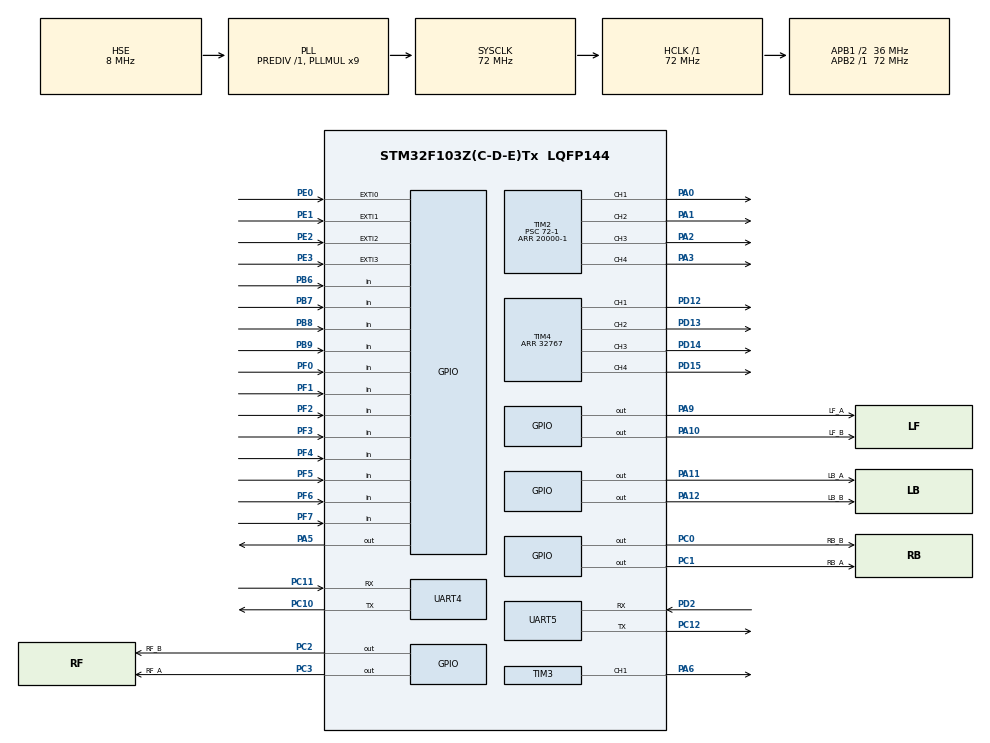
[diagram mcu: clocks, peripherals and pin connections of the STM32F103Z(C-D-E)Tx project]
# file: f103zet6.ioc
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Mcu.Family=STM32F1
Mcu.Name=STM32F103Z(C-D-E)Tx
Mcu.Package=LQFP144
NVIC.EXTI0_IRQn=true\:0\:0\:false\:false\:true\:true\:true\:true
NVIC.EXTI1_IRQn=true\:0\:0\:false\:false\:true\:true\:true\:true
NVIC.EXTI2_IRQn=true\:0\:0\:false\:false\:true\:true\:true\:true
NVIC.EXTI3_IRQn=true\:0\:0\:false\:false\:true\:true\:true\:true
NVIC.PriorityGroup=NVIC_PRIORITYGROUP_4
NVIC.TIM3_IRQn=true\:0\:0\:false\:false\:true\:true\:true\:true
OSC_IN.Mode=HSE-External-Oscillator
OSC_IN.Signal=RCC_OSC_IN
OSC_OUT.Mode=HSE-External-Oscillator
OSC_OUT.Signal=RCC_OSC_OUT
PA0-WKUP.Signal=S_TIM2_CH1_ETR
PA1.Signal=S_TIM2_CH2
PA10.GPIO_Label=LF_B
PA10.Signal=GPIO_Output
PA11.GPIO_Label=LB_A
PA11.Signal=GPIO_Output
PA12.GPIO_Label=LB_B
PA12.Signal=GPIO_Output
PA13.Mode=Serial_Wire
PA13.Signal=SYS_JTMS-SWDIO
PA14.Mode=Serial_Wire
PA14.Signal=SYS_JTCK-SWCLK
PA2.Signal=S_TIM2_CH3
PA3.Signal=S_TIM2_CH4
PA5.Signal=GPIO_Output
PA6.Signal=S_TIM3_CH1
PA9.GPIO_Label=LF_A
PA9.Signal=GPIO_Output
PB6.GPIO_PuPd=GPIO_PULLDOWN
PB6.Signal=GPIO_Input
PB7.GPIO_PuPd=GPIO_PULLDOWN
PB7.Signal=GPIO_Input
PB8.GPIO_PuPd=GPIO_PULLDOWN
PB8.Signal=GPIO_Input
PB9.GPIO_PuPd=GPIO_PULLDOWN
PB9.Signal=GPIO_Input
PC0.GPIO_Label=RB_B
PC0.Signal=GPIO_Output
PC1.GPIO_Label=RB_A
PC1.Signal=GPIO_Output
PC10.Mode=Asynchronous
PC10.Signal=UART4_TX
PC11.Mode=Asynchronous
PC11.Signal=UART4_RX
PC12.Mode=Asynchronous
PC12.Signal=UART5_TX
PC2.GPIO_Label=RF_B
PC2.Signal=GPIO_Output
PC3.GPIO_Label=RF_A
PC3.Signal=GPIO_Output
PD12.Signal=S_TIM4_CH1
PD13.Signal=S_TIM4_CH2
PD14.Signal=S_TIM4_CH3
PD15.Signal=S_TIM4_CH4
PD2.Mode=Asynchronous
PD2.Signal=UART5_RX
PE0.GPIO_PuPd=GPIO_PULLDOWN
PE0.Signal=GPXTI0
PE1.GPIO_PuPd=GPIO_PULLDOWN
PE1.Signal=GPXTI1
PE2.GPIO_PuPd=GPIO_PULLDOWN
PE2.Signal=GPXTI2
PE3.GPIO_PuPd=GPIO_PULLDOWN
PE3.Signal=GPXTI3
PF0.GPIO_PuPd=GPIO_PULLDOWN
PF0.Signal=GPIO_Input
PF1.GPIO_PuPd=GPIO_PULLDOWN
PF1.Signal=GPIO_Input
PF2.GPIO_PuPd=GPIO_PULLDOWN
PF2.Signal=GPIO_Input
PF3.GPIO_PuPd=GPIO_PULLDOWN
PF3.Signal=GPIO_Input
PF4.GPIO_PuPd=GPIO_PULLDOWN
PF4.Signal=GPIO_Input
PF5.GPIO_PuPd=GPIO_PULLDOWN
PF5.Signal=GPIO_Input
PF6.GPIO_PuPd=GPIO_PULLDOWN
PF6.Signal=GPIO_Input
PF7.GPIO_PuPd=GPIO_PULLDOWN
PF7.Signal=GPIO_Input
ProjectManager.HeapSize=0x200
ProjectManager.StackSize=0x400
ProjectManager.TargetToolchain=MDK-ARM V5.32
RCC.AHBFreq_Value=72000000
RCC.APB1CLKDivider=RCC_HCLK_DIV2
RCC.APB1Freq_Value=36000000
RCC.APB1TimFreq_Value=72000000
RCC.APB2Freq_Value=72000000
RCC.APB2TimFreq_Value=72000000
RCC.HCLKFreq_Value=72000000
RCC.PLLMUL=RCC_PLL_MUL9
RCC.PLLSourceVirtual=RCC_PLLSOURCE_HSE
RCC.SYSCLKFreq_VALUE=72000000
RCC.SYSCLKSource=RCC_SYSCLKSOURCE_PLLCLK
RCC.USBFreq_Value=72000000
SH.S_TIM2_CH1_ETR.0=TIM2_CH1,PWM Generation1 CH1
SH.S_TIM2_CH2.0=TIM2_CH2,PWM Generation2 CH2
SH.S_TIM2_CH3.0=TIM2_CH3,PWM Generation3 CH3
SH.S_TIM2_CH4.0=TIM2_CH4,PWM Generation4 CH4
SH.S_TIM3_CH1.0=TIM3_CH1,PWM Generation1 CH1
SH.S_TIM4_CH1.0=TIM4_CH1,PWM Generation1 CH1
SH.S_TIM4_CH2.0=TIM4_CH2,PWM Generation2 CH2
SH.S_TIM4_CH3.0=TIM4_CH3,PWM Generation3 CH3
SH.S_TIM4_CH4.0=TIM4_CH4,PWM Generation4 CH4
TIM2.Channel-PWM\ Generation1\ CH1=TIM_CHANNEL_1
TIM2.Channel-PWM\ Generation2\ CH2=TIM_CHANNEL_2
TIM2.Channel-PWM\ Generation3\ CH3=TIM_CHANNEL_3
TIM2.Channel-PWM\ Generation4\ CH4=TIM_CHANNEL_4
TIM2.Period=20000-1
TIM2.Prescaler=72-1
TIM3.Channel-PWM\ Generation1\ CH1=TIM_CHANNEL_1
TIM3.Period=1000-1
TIM3.Prescaler=72-1
TIM4.Channel-PWM\ Generation1\ CH1=TIM_CHANNEL_1
TIM4.Channel-PWM\ Generation2\ CH2=TIM_CHANNEL_2
TIM4.Channel-PWM\ Generation3\ CH3=TIM_CHANNEL_3
TIM4.Channel-PWM\ Generation4\ CH4=TIM_CHANNEL_4
TIM4.Period=32767
UART4.VirtualMode=Asynchronous
UART5.VirtualMode=Asynchronous
VP_TIM3_VS_ClockSourceINT.Mode=Internal
VP_TIM4_VS_ClockSourceINT.Mode=Internal
board=custom

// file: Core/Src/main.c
/* USER CODE BEGIN Header */
/**
  ******************************************************************************
  * @file           : main.c
  * @brief          : Main program body
  ******************************************************************************
  * @attention
  *
  * Copyright (c) 2025 STMicroelectronics.
  * All rights reserved.
  *
  * This software is licensed under terms that can be found in the LICENSE file
  * in the root directory of this software component.
  * If no LICENSE file comes with this software, it is provided AS-IS.
  *
  ******************************************************************************
  */
/* USER CODE END Header */
#include "main.h"
#include "tim.h"
#include "usart.h"
#include "gpio.h"

/* USER CODE BEGIN Includes */
#include "motor.h"
#include "Line.h"
#include "dart.h"
#include "pid.h"
#include <string.h>
#include "vision.h"
#include "sensor.h"
/* USER CODE END Includes */

/* USER CODE BEGIN PV */
int counter[4]={0,0,0,0};
int timecounter=0,k=0;
int  precounter[4],target_speed[4];
float speed[4];
uint8_t receiveData[1];
int currentime=0,time=0;

float temp[4],temp2[4];
int temp3[10];
/* USER CODE END PV */

void SystemClock_Config(void);

/* USER CODE BEGIN 0 */
void frictionwheelinit()
{
	 //left&right frction wheel init
					HAL_Delay(2000);
					 __HAL_TIM_SetCompare(&htim2,TIM_CHANNEL_1,2000);
					 __HAL_TIM_SetCompare(&htim2,TIM_CHANNEL_2,2000);
	         __HAL_TIM_SetCompare(&htim2,TIM_CHANNEL_3,2000);
					 __HAL_TIM_SetCompare(&htim2,TIM_CHANNEL_4,2000);
		      HAL_Delay(2000);
		      __HAL_TIM_SetCompare(&htim2,TIM_CHANNEL_1,1000);
		      __HAL_TIM_SetCompare(&htim2,TIM_CHANNEL_2,1000);
	        __HAL_TIM_SetCompare(&htim2,TIM_CHANNEL_3,1000);
		      __HAL_TIM_SetCompare(&htim2,TIM_CHANNEL_4,1000);
		      HAL_Delay(2000);

}

/* USER CODE END 0 */

int main(void)
{

  /* MCU Configuration--------------------------------------------------------*/

  /* Reset of all peripherals, Initializes the Flash interface and the Systick. */
  HAL_Init();

  /* Configure the system clock */
  SystemClock_Config();

  /* Initialize all configured peripherals */
  MX_GPIO_Init();
  MX_TIM4_Init();
  MX_TIM2_Init();
  MX_TIM3_Init();
  MX_UART4_Init();
  MX_UART5_Init();
  /* USER CODE BEGIN 2 */
	HAL_TIM_PWM_Start(&htim2,TIM_CHANNEL_1);
	HAL_TIM_PWM_Start(&htim2,TIM_CHANNEL_2);
	HAL_TIM_PWM_Start(&htim2,TIM_CHANNEL_3);
	HAL_TIM_PWM_Start(&htim2,TIM_CHANNEL_4);

	HAL_TIM_PWM_Start(&htim3,TIM_CHANNEL_1);

  HAL_TIM_PWM_Start(&htim4,TIM_CHANNEL_1);
	HAL_TIM_PWM_Start(&htim4,TIM_CHANNEL_2);
	HAL_TIM_PWM_Start(&htim4,TIM_CHANNEL_3);
	HAL_TIM_PWM_Start(&htim4,TIM_CHANNEL_4);

	HAL_TIM_Base_Start_IT(&htim3);

	lf_PID_Init(&g_speed_pid[0]);
	lb_PID_Init(&g_speed_pid[1]);
	rf_PID_Init(&g_speed_pid[2]);
	rb_PID_Init(&g_speed_pid[3]);
  frictionwheelinit();

launch(2000);

//time=currentime;

  /* USER CODE END 2 */

  /* Infinite loop */
  /* USER CODE BEGIN WHILE */
  while (1)
  {

//		temp3[0]=D1;
//		temp3[1]=D2;
//		temp3[2]=D2;
//		temp3[3]=D3;
//		temp3[4]=D4;
//		temp3[5]=D5;
//		temp3[6]=D6;
//		temp3[7]=D7;
//		temp3[8]=D8;

	//track_zhixian2();
		//vision_target();

    /* USER CODE END WHILE */

  }
}

void SystemClock_Config(void)
{
  RCC_OscInitTypeDef RCC_OscInitStruct = {0};
  RCC_ClkInitTypeDef RCC_ClkInitStruct = {0};

  /** Initializes the RCC Oscillators according to the specified parameters
  * in the RCC_OscInitTypeDef structure.
  */
  RCC_OscInitStruct.OscillatorType = RCC_OSCILLATORTYPE_HSE;
  RCC_OscInitStruct.HSEState = RCC_HSE_ON;
  RCC_OscInitStruct.HSEPredivValue = RCC_HSE_PREDIV_DIV1;
  RCC_OscInitStruct.HSIState = RCC_HSI_ON;
  RCC_OscInitStruct.PLL.PLLState = RCC_PLL_ON;
  RCC_OscInitStruct.PLL.PLLSource = RCC_PLLSOURCE_HSE;
  RCC_OscInitStruct.PLL.PLLMUL = RCC_PLL_MUL9;
  if (HAL_RCC_OscConfig(&RCC_OscInitStruct) != HAL_OK)
  {
    Error_Handler();
  }

  /** Initializes the CPU, AHB and APB buses clocks
  */
  RCC_ClkInitStruct.ClockType = RCC_CLOCKTYPE_HCLK|RCC_CLOCKTYPE_SYSCLK
                              |RCC_CLOCKTYPE_PCLK1|RCC_CLOCKTYPE_PCLK2;
  RCC_ClkInitStruct.SYSCLKSource = RCC_SYSCLKSOURCE_PLLCLK;
  RCC_ClkInitStruct.AHBCLKDivider = RCC_SYSCLK_DIV1;
  RCC_ClkInitStruct.APB1CLKDivider = RCC_HCLK_DIV2;
  RCC_ClkInitStruct.APB2CLKDivider = RCC_HCLK_DIV1;

  if (HAL_RCC_ClockConfig(&RCC_ClkInitStruct, FLASH_LATENCY_2) != HAL_OK)
  {
    Error_Handler();
  }
}

/* USER CODE BEGIN 4 */
void HAL_TIM_PeriodElapsedCallback(TIM_HandleTypeDef *htim) //1ms 100%对应的速度为6
{

   if(htim==&htim3)
	 {
		 currentime++;
		 timecounter++;

		     if(timecounter>=40)
				 {
					 timecounter=0;

					 for(int i=0;i<=3;i++)
					 {
					 speed[i]=-(float)(counter[i]-precounter[i])/561.0f/0.04f;     //1rad=561pulse  speed:rad/s
					 precounter[i]=counter[i];
           temp[i]=PID_Update(&g_speed_pid[i],(float)(target_speed[i]*6.00f/32767.00),speed[i],0.04);
					 temp2[i]=(float)(target_speed[i]*6.00f/32767);
					 }

					 lf_motor_pwm_set(target_speed[0]);
					 lb_motor_pwm_set(target_speed[1]);
					 rf_motor_pwm_set(target_speed[2]);
		    	 rb_motor_pwm_set(target_speed[3]);

				 }

	 }

}
/* USER CODE END 4 */

void Error_Handler(void)
{
  __disable_irq();
  while (1)
  {
  }
}
